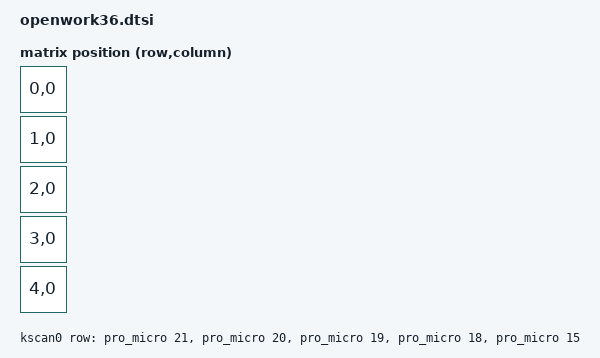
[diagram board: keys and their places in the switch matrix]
/*
 * Copyright (c) 2022 Duccio Breschi
 *
 * SPDX-License-Identifier: MIT
 */

#include <dt-bindings/zmk/matrix_transform.h>


/ {
	chosen {

		zmk,kscan = &kscan0;
	
		zmk,matrix_transform = &default_transform;
	};

	default_transform: keymap_transform_0 {
		compatible = "zmk,matrix-transform";
		columns = <2>;
		rows = <5>;

		map = <
                            RC(0,0)             
                            RC(1,0)            
                            RC(2,0)            
				            RC(3,0)            
                            RC(4,0)                                                                                                                         
				               

		>;
	};

	kscan0: kscan {
		compatible = "zmk,kscan-gpio-matrix";
		label = "KSCAN";

		diode-direction = "col2row";
		       row-gpios=  <&pro_micro 21 (GPIO_ACTIVE_HIGH | GPIO_PULL_DOWN)> 
				         , <&pro_micro 20 (GPIO_ACTIVE_HIGH | GPIO_PULL_DOWN)> 
				         , <&pro_micro 19 (GPIO_ACTIVE_HIGH | GPIO_PULL_DOWN)> 
				         , <&pro_micro 18 (GPIO_ACTIVE_HIGH | GPIO_PULL_DOWN)> 
                         , <&pro_micro 15 (GPIO_ACTIVE_HIGH | GPIO_PULL_DOWN)> 
				;
	};



};

